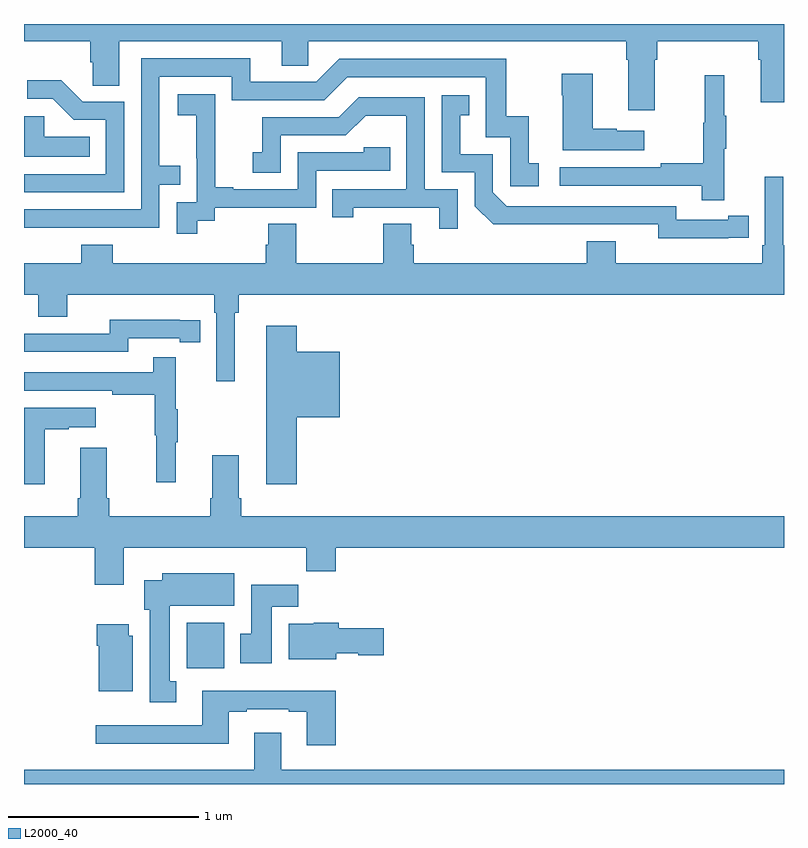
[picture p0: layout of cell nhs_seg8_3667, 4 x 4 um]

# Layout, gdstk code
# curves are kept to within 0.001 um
import gdstk
lib = gdstk.Library(unit=1e-6, precision=1e-09)
def R(c, l, rs):  # rectangles x0, y0, x1, y1
    for r in rs: c.add(gdstk.rectangle(r[:2], r[2:], *l))
def P(c, l, *ps):  # polygons
    for p in ps: c.add(gdstk.Polygon(p, *l))
L2000_40 = (2000, 40)

nhs_seg8_3667 = lib.new_cell('nhs_seg8_3667')
R(nhs_seg8_3667, L2000_40, [(337.856,1138.508,338.053,1138.75)])
P(nhs_seg8_3667, L2000_40, [(340.321,1141.712),(340.334,1141.712),(340.334,1141.808),(340.865,1141.808),(340.865,1141.712),(340.877,1141.712),(340.877,1141.488),(341,1141.488),(341,1141.9),(337,1141.9),(337,1141.808),(337.349,1141.808),(337.349,1141.699),(337.362,1141.699),(337.362,1141.576),(337.501,1141.576),(337.501,1141.808),(338.357,1141.808),(338.357,1141.681),(338.496,1141.681),(338.496,1141.808),(340.169,1141.808),(340.169,1141.712),(340.181,1141.712),(340.181,1141.446),(340.321,1141.446)],
  [(337.217,1140.828),(337.713,1140.828),(337.713,1141.053),(337.823,1141.053),(337.823,1141.154),(337.713,1141.154),(337.713,1141.623),(338.094,1141.623),(338.094,1141.5),(338.58,1141.5),(338.7,1141.62),(339.429,1141.62),(339.429,1141.305),(339.558,1141.305),(339.558,1141.047),(339.709,1141.047),(339.709,1141.167),(339.656,1141.167),(339.656,1141.414),(339.538,1141.414),(339.538,1141.716),(338.658,1141.716),(338.538,1141.596),(338.191,1141.596),(338.191,1141.719),(337.617,1141.719),(337.617,1140.924),(337,1140.924),(337,1140.827)],
  [(340.264,1141.339),(340.121,1141.339),(340.121,1141.349),(339.994,1141.349),(339.994,1141.639),(339.829,1141.639),(339.829,1141.526),(339.836,1141.526),(339.836,1141.235),(340.264,1141.235)],
  [(340.685,1141.243),(340.696,1141.243),(340.696,1141.417),(340.685,1141.417),(340.685,1141.63),(340.582,1141.63),(340.582,1141.38),(340.575,1141.38),(340.575,1141.166),(340.351,1141.166),(340.351,1141.146),(339.819,1141.146),(339.819,1141.05),(340.567,1141.05),(340.567,1140.972),(340.685,1140.972)],
  [(337.527,1141.491),(337.308,1141.491),(337.195,1141.604),(337.017,1141.604),(337.017,1141.506),(337.151,1141.506),(337.262,1141.395),(337.431,1141.395),(337.431,1141.11),(337,1141.11),(337,1141.014),(337.527,1141.014)],
  [(337.912,1140.865),(338.004,1140.865),(338.004,1140.933),(338.538,1140.933),(338.538,1141.128),(338.927,1141.128),(338.927,1141.251),(338.787,1141.251),(338.787,1141.224),(338.442,1141.224),(338.442,1141.029),(338.101,1141.029),(338.101,1141.042),(338.006,1141.042),(338.006,1141.325),(338.007,1141.325),(338.007,1141.531),(337.809,1141.531),(337.809,1141.421),(337.907,1141.421),(337.907,1141.193),(337.908,1141.193),(337.908,1140.963),(337.803,1140.963),(337.803,1140.795),(337.912,1140.795)],
  [(340.706,1140.774),(340.814,1140.774),(340.814,1140.89),(340.706,1140.89),(340.706,1140.87),(340.434,1140.87),(340.434,1140.942),(339.54,1140.942),(339.468,1141.014),(339.468,1141.215),(339.295,1141.215),(339.295,1141.419),(339.344,1141.419),(339.344,1141.525),(339.198,1141.525),(339.198,1141.119),(339.372,1141.119),(339.372,1140.942),(339.47,1140.845),(340.338,1140.846),(340.338,1140.773)],
  [(339.282,1141.029),(339.108,1141.029),(339.108,1141.515),(338.762,1141.515),(338.657,1141.41),(338.254,1141.41),(338.254,1141.225),(338.205,1141.225),(338.205,1141.116),(338.352,1141.116),(338.352,1141.314),(338.694,1141.314),(338.798,1141.418),(339.012,1141.418),(339.012,1141.029),(338.623,1141.029),(338.623,1140.882),(338.734,1140.882),(338.734,1140.933),(339.185,1140.933),(339.185,1140.822),(339.282,1140.822)],
  [(337.346,1141.306),(337.107,1141.306),(337.107,1141.414),(337,1141.414),(337,1141.202),(337.346,1141.202)],
  [(338.11,1140.38),(338.129,1140.38),(338.129,1140.476),(341,1140.476),(341,1140.736),(340.996,1140.736),(340.996,1141.096),(340.899,1141.096),(340.899,1140.736),(340.886,1140.736),(340.886,1140.64),(340.114,1140.64),(340.114,1140.757),(339.962,1140.757),(339.962,1140.64),(339.05,1140.64),(339.05,1140.738),(339.037,1140.738),(339.037,1140.848),(338.89,1140.848),(338.89,1140.64),(338.433,1140.64),(338.433,1140.848),(338.285,1140.848),(338.285,1140.738),(338.273,1140.738),(338.273,1140.64),(337.466,1140.64),(337.466,1140.739),(337.301,1140.739),(337.301,1140.64),(337,1140.64),(337,1140.476),(337.076,1140.476),(337.076,1140.359),(337.228,1140.359),(337.228,1140.476),(338,1140.476),(338,1140.38),(338.013,1140.38),(338.013,1140.021),(338.11,1140.021)],
  [(337.548,1140.246),(337.82,1140.246),(337.82,1140.226),(337.928,1140.226),(337.928,1140.342),(337.82,1140.342),(337.82,1140.343),(337.452,1140.343),(337.452,1140.27),(337,1140.27),(337,1140.174),(337.548,1140.174)],
  [(338.435,1139.831),(338.662,1139.831),(338.662,1140.175),(338.435,1140.175),(338.435,1140.313),(338.276,1140.313),(338.276,1139.478),(338.435,1139.478)],
  [(337.799,1139.699),(337.81,1139.699),(337.81,1139.873),(337.799,1139.873),(337.799,1140.145),(337.681,1140.145),(337.681,1140.066),(337,1140.066),(337,1139.97),(337.465,1139.97),(337.465,1139.95),(337.689,1139.95),(337.689,1139.736),(337.696,1139.736),(337.696,1139.487),(337.799,1139.487)],
  [(337.108,1139.767),(337.235,1139.767),(337.235,1139.777),(337.378,1139.777),(337.378,1139.881),(337,1139.881),(337,1139.478),(337.108,1139.478)],
  [(338.144,1139.404),(338.131,1139.404),(338.131,1139.629),(337.991,1139.629),(337.991,1139.404),(337.979,1139.404),(337.979,1139.308),(337.448,1139.308),(337.448,1139.404),(337.435,1139.404),(337.435,1139.671),(337.295,1139.671),(337.295,1139.404),(337.283,1139.404),(337.283,1139.308),(337,1139.308),(337,1139.144),(337.373,1139.144),(337.373,1138.95),(337.525,1138.95),(337.525,1139.144),(338.485,1139.144),(338.485,1139.02),(338.642,1139.02),(338.642,1139.144),(341,1139.144),(341,1139.308),(338.144,1139.308)],
  [(337.801,1138.442),(337.768,1138.442),(337.768,1138.838),(338.107,1138.838),(338.107,1139.008),(337.727,1139.008),(337.727,1138.972),(337.634,1138.972),(337.634,1138.818),(337.661,1138.818),(337.661,1138.329),(337.801,1138.329)],
  [(338.305,1138.832),(338.444,1138.832),(338.444,1138.95),(338.195,1138.95),(338.195,1138.692),(338.138,1138.692),(338.138,1138.536),(338.305,1138.536)],
  [(338.644,1138.589),(338.76,1138.589),(338.76,1138.577),(338.893,1138.577),(338.893,1138.719),(338.657,1138.719),(338.657,1138.75),(338.526,1138.75),(338.526,1138.744),(338.393,1138.744),(338.393,1138.556),(338.644,1138.556)],
  [(337.573,1138.68),(337.552,1138.68),(337.552,1138.741),(337.382,1138.741),(337.382,1138.628),(337.394,1138.628),(337.394,1138.388),(337.573,1138.388)],
  [(338.642,1138.39),(337.937,1138.39),(337.937,1138.209),(337.377,1138.209),(337.377,1138.112),(338.077,1138.112),(338.077,1138.281),(338.173,1138.281),(338.173,1138.293),(338.393,1138.293),(338.393,1138.281),(338.489,1138.281),(338.489,1138.104),(338.642,1138.104)],
  [(341,1137.976),(338.353,1137.976),(338.353,1138.171),(338.213,1138.171),(338.213,1137.976),(337,1137.976),(337,1137.9),(341,1137.9)])

lib.write_gds('nhs_seg8_3667.gds')
